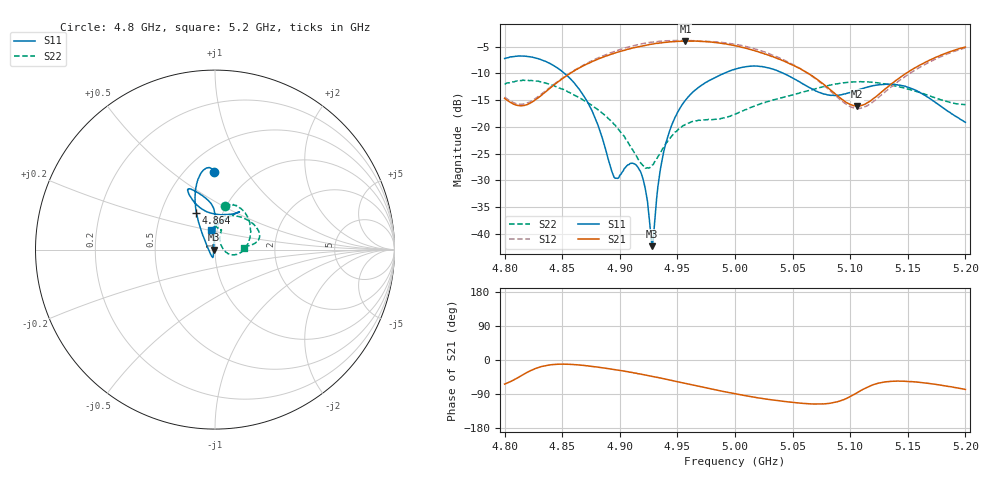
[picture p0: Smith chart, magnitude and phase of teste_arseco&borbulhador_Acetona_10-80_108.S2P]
! Network Analyzer HP8722D
! Hewlett-Packard
! Data name: Linha & Wilkinson
! Saver's name: Rodrigo Anjos
! Comments: Teste da utilização de aquisição
! continua pelo VNA HP8722D
! Time and date: 25/4/2025 16:10
!  Frequency  S11  S21  S12  S22
# HZ  S  MA R 50
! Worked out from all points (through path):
!   401 points, 4.8 GHz to 5.2 GHz, reference 50 ohm
!   highest |S21| = -3.97 dB at 4.957 GHz (marker M1); lowest = -16.1 dB at 5.106 GHz (marker M2)
!   lowest |S11| = -42.3 dB at 4.928 GHz (marker M3), VSWR 1.02, Z = 49.2 - j0.105 ohm
!   |S11| at or under -10 dB: 4.852 GHz to 4.991 GHz (138.7 MHz wide, 2.82 % of centre); 5.042 GHz to end of sweep
!   |S22| runs from -27.7 to -11.3 dB; largest |S21 - S12| = 1.2
!   S11 on the Smith chart (normalised r, x): 4.8 GHz: 0.68, +0.73; 4.864 GHz: 0.75, +0.33; 5.2 GHz: 0.94, +0.21
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4.8e9  0.4344 90.5  0.1846 -63.5  0.1898 70.1  0.2495 76.9
4.82e9  0.453 96.9  0.1618 -31.9  0.1679 98.9  0.2722 61.7
4.844e9  0.3652 106.8  0.2515 -11.6  0.255 119.3  0.2385 35.2
4.864e9  0.2307 116.7  0.3512 -13.0  0.3541 120.9  0.1894 11.7
4.867e9  0.2076 118.4  0.3651 -13.9  0.3686 120.6  0.1818 8.4
4.88e9  0.1108 129.0  0.4242 -18.5  0.4345 118.1  0.1475 -5.6
4.895e9  0.03394 -172.6  0.4865 -25.0  0.5027 113.6  0.1056 -16.0
4.909e9  0.04557 -108.3  0.5369 -32.1  0.5616 107.5  0.06636 -14.3
4.917e9  0.03972 -104.1  0.563 -36.5  0.5902 103.3  0.04756 -1.2
4.922e9  0.02693 -109.1  0.5771 -39.4  0.6038 100.5  0.04103 16.7
4.928e9  0.007711 -172.1  0.5918 -43.1  0.6181 96.8  0.04387 41.7
4.93e9  0.01202 126.6  0.5975 -44.3  0.6208 95.5  0.04684 49.0
4.934e9  0.03241 100.7  0.6037 -46.9  0.6298 93.0  0.05474 58.8
4.943e9  0.09023 91.0  0.6206 -52.7  0.6369 87.3  0.07689 68.5
4.957e9  0.1776 89.5  0.6333 -61.6  0.6398 78.4  0.1055 71.4
5e9  0.3455 109.1  0.5714 -89.2  0.5912 50.6  0.1312 88.4
5.03e9  0.3532 115.0  0.4631 -104.4  0.4792 33.7  0.174 85.3
5.067e9  0.2257 105.1  0.2997 -115.8  0.2962 23.7  0.2219 56.8
5.106e9  0.2194 64.4  0.156 -86.3  0.1484 56.6  0.2632 24.6
5.134e9  0.2501 57.0  0.2427 -56.7  0.2284 88.7  0.2478 12.3
5.168e9  0.1877 69.3  0.4151 -61.9  0.3982 85.0  0.1957 7.0
5.2e9  0.1104 100.8  0.5559 -77.7  0.5461 70.0  0.1614 3.6
